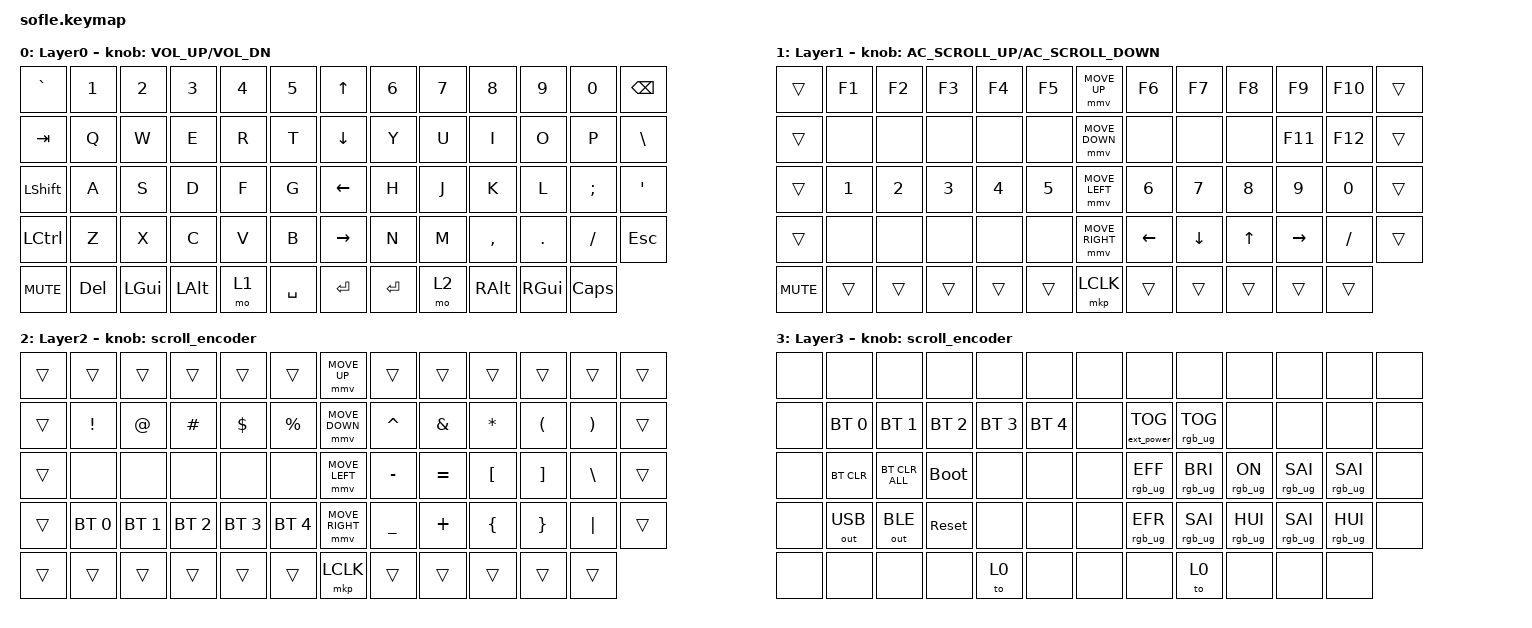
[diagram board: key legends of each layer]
#include <behaviors/mouse_keys.dtsi>
#include <behaviors.dtsi>
#include <dt-bindings/zmk/bt.h>
#include <dt-bindings/zmk/ext_power.h>
#include <dt-bindings/zmk/keys.h>
#include <dt-bindings/zmk/mouse.h>
#include <dt-bindings/zmk/outputs.h>
#include <dt-bindings/zmk/rgb.h>

#define ZMK_MOUSE_DEFAULT_MOVE_VAL 1200  // 600
#define ZMK_MOUSE_DEFAULT_SCRL_VAL 20    // 10
#define U_MS_U &mmv MOVE_UP
#define U_MS_D &mmv MOVE_DOWN
#define U_MS_L &mmv MOVE_LEFT
#define U_MS_R &mmv MOVE_RIGHT
#define ZMK_MOUSE_DEFAULT_MOVE_VAL 1200  //  600
#define ZMK_MOUSE_DEFAULT_SCRL_VAL 20    // 10

/ {
    behaviors {
        mmv {
            acceleration-exponent = <1>;      // 1
            time-to-max-speed-ms = <900>;    // 40
            delay-ms = <0>;                   // 0
        };

        msc {
            acceleration-exponent = <1>;      // 0
            time-to-max-speed-ms = <400>;      // 500
            delay-ms = <0>;                   //   10
        };
    };

    scroll_encoder: scroll_encoder {
        compatible = "zmk,behavior-sensor-rotate";
        #sensor-binding-cells = <0>;
        bindings = <&msc SCRL_DOWN>, <&msc SCRL_UP>;

        tap-ms = <30>;
    };

    combos {
        compatible = "zmk,combos";

        FunctionLayer {
            bindings = <&to 3>;
            key-positions = <56 42>;
            layers = <0>;
        };
    };

    keymap {
        compatible = "zmk,keymap";

        Layer0 {
            bindings = <
&kp GRAVE         &kp N1   &kp N2        &kp N3        &kp N4  &kp N5       &kp UP_ARROW     &kp N6     &kp N7  &kp N8         &kp N9         &kp N0    &kp BACKSPACE
&kp TAB           &kp Q    &kp W         &kp E         &kp R   &kp T        &kp DOWN_ARROW   &kp Y      &kp U   &kp I          &kp O          &kp P     &kp BSLH
&kp LEFT_SHIFT    &kp A    &kp S         &kp D         &kp F   &kp G        &kp LEFT_ARROW   &kp H      &kp J   &kp K          &kp L          &kp SEMI  &kp APOS
&kp LEFT_CONTROL  &kp Z    &kp X         &kp C         &kp V   &kp B        &kp RIGHT_ARROW  &kp N      &kp M   &kp COMMA      &kp DOT        &kp FSLH  &kp ESCAPE
&kp C_MUTE        &kp DEL  &kp LEFT_GUI  &kp LEFT_ALT  &mo 1   &kp SPACE    &kp ENTER        &kp ENTER  &mo 2   &kp RIGHT_ALT  &kp RIGHT_GUI  &kp CAPS
            >;

            sensor-bindings = <&inc_dec_kp C_VOLUME_UP C_VOL_DN>;
            display-name = "Layer0";
        };

        Layer1 {
            bindings = <
&trans      &kp F1  &kp F2  &kp F3  &kp F4  &kp F5    &mmv MOVE_UP     &kp F6    &kp F7    &kp F8  &kp F9     &kp F10    &trans
&trans      &none   &none   &none   &none   &none     &mmv MOVE_DOWN   &none     &none     &none   &kp F11    &kp F12    &trans
&trans      &kp N1  &kp N2  &kp N3  &kp N4  &kp N5    &mmv MOVE_LEFT   &kp N6    &kp N7    &kp N8  &kp N9     &kp N0     &trans
&trans      &none   &none   &none   &none   &none     &mmv MOVE_RIGHT  &kp LEFT  &kp DOWN  &kp UP  &kp RIGHT  &kp SLASH  &trans
&kp K_MUTE  &trans  &trans  &trans  &trans  &trans    &mkp LCLK        &trans    &trans    &trans  &trans     &trans
            >;

            display-name = "Layer1";
            sensor-bindings = <&inc_dec_kp C_AC_SCROLL_UP C_AC_SCROLL_DOWN>;
        };

        Layer2 {
            bindings = <
&trans  &trans        &trans        &trans        &trans        &trans          &mmv MOVE_UP     &trans     &trans     &trans            &trans             &trans         &trans
&trans  &kp EXCL      &kp AT        &kp HASH      &kp DLLR      &kp PRCNT       &mmv MOVE_DOWN   &kp CARET  &kp AMPS   &kp STAR          &kp LPAR           &kp RPAR       &trans
&trans  &none         &none         &none         &none         &none           &mmv MOVE_LEFT   &kp MINUS  &kp EQUAL  &kp LEFT_BRACKET  &kp RIGHT_BRACKET  &kp BACKSLASH  &trans
&trans  &bt BT_SEL 0  &bt BT_SEL 1  &bt BT_SEL 2  &bt BT_SEL 3  &bt BT_SEL 4    &mmv MOVE_RIGHT  &kp UNDER  &kp PLUS   &kp LBRC          &kp RBRC           &kp PIPE       &trans
&trans  &trans        &trans        &trans        &trans        &trans          &mkp LCLK        &trans     &trans     &trans            &trans             &trans
            >;

            sensor-bindings = <&scroll_encoder>;
        };

        Layer3 {
            bindings = <
&none  &none         &none           &none         &none         &none           &none  &none              &none            &none            &none            &none            &none
&none  &bt BT_SEL 0  &bt BT_SEL 1    &bt BT_SEL 2  &bt BT_SEL 3  &bt BT_SEL 4    &none  &ext_power EP_TOG  &rgb_ug RGB_TOG  &none            &none            &none            &none
&none  &bt BT_CLR    &bt BT_CLR_ALL  &bootloader   &none         &none           &none  &rgb_ug RGB_EFF    &rgb_ug RGB_BRI  &rgb_ug RGB_ON   &rgb_ug RGB_SAI  &rgb_ug RGB_SAI  &none
&none  &out OUT_USB  &out OUT_BLE    &sys_reset    &none         &none           &none  &rgb_ug RGB_EFR    &rgb_ug RGB_SAI  &rgb_ug RGB_HUI  &rgb_ug RGB_SAI  &rgb_ug RGB_HUI  &none
&none  &none         &none           &none         &to 0         &none           &none  &none              &to 0            &none            &none            &none
            >;

            sensor-bindings = <&scroll_encoder>;
        };
    };
};
